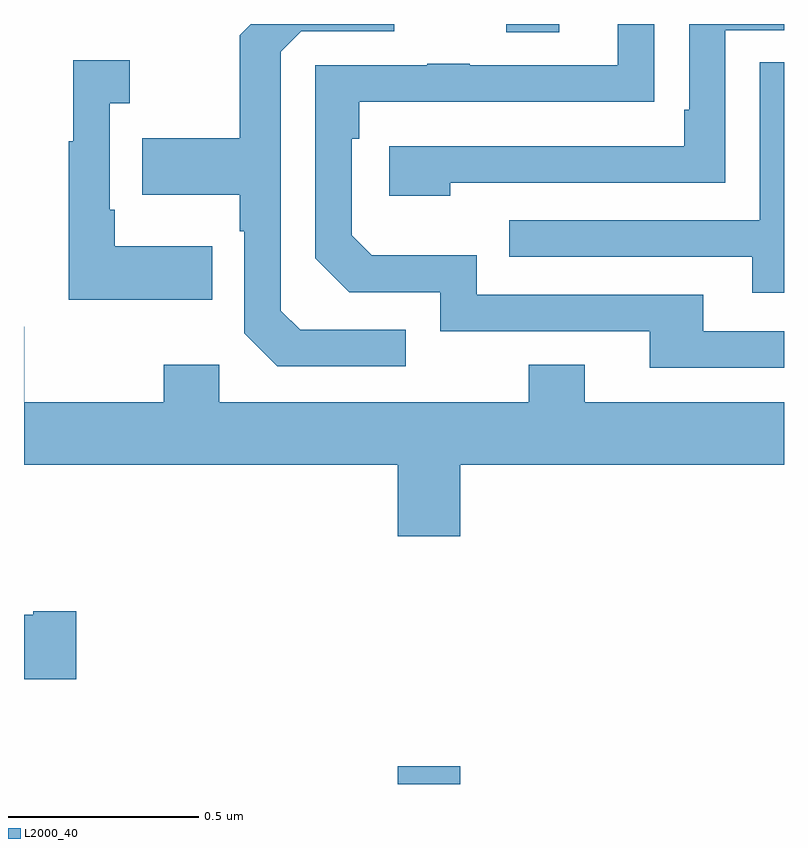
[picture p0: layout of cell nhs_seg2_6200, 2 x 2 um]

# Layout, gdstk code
import gdstk
lib = gdstk.Library(unit=1e-6, precision=1e-09)
def R(c, l, rs):  # rectangles x0, y0, x1, y1
    for r in rs: c.add(gdstk.rectangle(r[:2], r[2:], *l))
def P(c, l, *ps):  # polygons
    for p in ps: c.add(gdstk.Polygon(p, *l))
L2000_40 = (2000, 40)

nhs_seg2_6200 = lib.new_cell('nhs_seg2_6200')
R(nhs_seg2_6200, L2000_40, [(188.984,642.8,189.148,642.847), (189.269,644.778,189.409,644.8)])
P(nhs_seg2_6200, L2000_40, [(190,643.992),(189.787,643.992),(189.787,644.088),(189.192,644.088),(189.192,644.191),(188.915,644.191),(188.862,644.244),(188.862,644.498),(188.882,644.498),(188.882,644.595),(189.557,644.595),(189.557,644.596),(189.659,644.596),(189.659,644.8),(189.563,644.8),(189.563,644.691),(189.173,644.691),(189.173,644.696),(189.061,644.696),(189.061,644.691),(188.766,644.691),(188.766,644.184),(188.856,644.094),(189.096,644.094),(189.096,643.992),(189.647,643.992),(189.647,643.896),(190,643.896)],
  [(189.004,643.995),(188.727,643.995),(188.676,644.046),(188.676,644.727),(188.73,644.781),(188.974,644.781),(188.974,644.8),(188.597,644.8),(188.568,644.771),(188.568,644.499),(188.311,644.499),(188.311,644.351),(188.568,644.351),(188.568,644.255),(188.58,644.255),(188.58,643.986),(188.667,643.899),(189.004,643.899)],
  [(189.122,644.382),(189.846,644.382),(189.846,644.784),(190,644.784),(190,644.8),(189.75,644.8),(189.75,644.575),(189.737,644.575),(189.737,644.478),(188.961,644.478),(188.961,644.348),(189.122,644.348)],
  [(188.495,644.215),(188.239,644.215),(188.239,644.311),(188.226,644.311),(188.226,644.591),(188.278,644.591),(188.278,644.704),(188.129,644.704),(188.129,644.491),(188.118,644.491),(188.118,644.075),(188.495,644.075)],
  [(190,644.699),(189.936,644.699),(189.936,644.283),(189.277,644.283),(189.277,644.187),(189.917,644.187),(189.917,644.093),(190,644.093)],
  [(189.148,643.64),(190,643.64),(190,643.804),(189.475,643.804),(189.475,643.903),(189.328,643.903),(189.328,643.804),(188.514,643.804),(188.514,643.903),(188.368,643.903),(188.368,643.804),(188.001,643.804),(188.001,644.003),(188,644.003),(188,643.64),(188.984,643.64),(188.984,643.452),(189.148,643.452)],
  [(188.137,643.254),(188.024,643.254),(188.024,643.246),(188,643.246),(188,643.076),(188.137,643.076)])

lib.write_gds('nhs_seg2_6200.gds')
